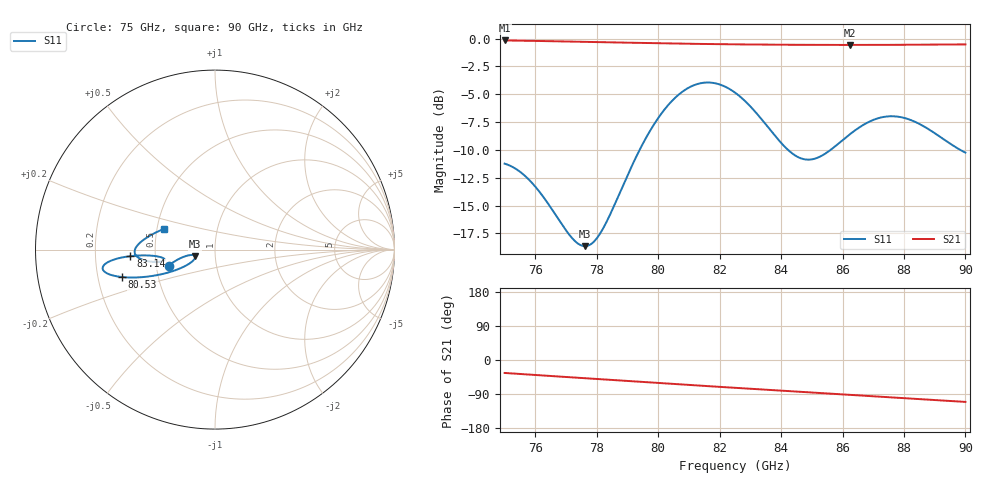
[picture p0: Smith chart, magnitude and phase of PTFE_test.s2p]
!SWISSto12 MCK measurement data
!name=PTFE_test
!thickness[mm]=3.160
# GHz S RI R 50.0
!freq ReS11 ImS11 ReS21 ImS21 ReS12 ImS12 ReS22 ImS22
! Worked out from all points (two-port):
!   961 points, 75 GHz to 90 GHz, reference 50 ohm
!   highest |S21| = -0.17 dB at 75 GHz (marker M1); lowest = -0.6 dB at 86.25 GHz (marker M2)
!   |S21| within 3 dB of the highest: start of sweep to end of sweep
!   lowest |S11| = -18.6 dB at 77.61 GHz (marker M3), VSWR 1.26, Z = 39.9 - j3.07 ohm
!   |S11| at or under -10 dB: start of sweep to 79.39 GHz; 84.23 GHz to 85.61 GHz (1.382 GHz wide, 1.63 % of centre); 89.83542 GHz to end of sweep
!   S12 and S22 are empty: the file has one direction only
!   S11 on the Smith chart (normalised r, x): 75 GHz: 0.58, -0.12; 80.53 GHz: 0.31, -0.13; 83.14 GHz: 0.36, -0.03; 90 GHz: 0.54, +0.14
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75  -0.2586 -0.0917  0.8114 -0.5508  0 0  0 0
75.84375  -0.22 -0.0624  0.762 -0.6112  0 0  0 0
77.10938  -0.128 -0.03  0.6806 -0.6907  0 0  0 0
77.5  -0.1125 -0.035  0.6535 -0.7131  0 0  0 0
77.60938  -0.1106 -0.038  0.6458 -0.7192  0 0  0 0
78.0625  -0.1174 -0.0566  0.6132 -0.7438  0 0  0 0
78.6875  -0.17 -0.0934  0.5667 -0.7752  0 0  0 0
79.40625  -0.2885 -0.1349  0.5117 -0.8077  0 0  0 0
80  -0.412 -0.1539  0.4656 -0.8313  0 0  0 0
80.53125  -0.5167 -0.153  0.4241 -0.8501  0 0  0 0
81.04688  -0.5917 -0.1367  0.3837 -0.8664  0 0  0 0
81.51562  -0.6241 -0.1126  0.3469 -0.8796  0 0  0 0
81.98438  -0.6174 -0.0851  0.31 -0.8913  0 0  0 0
82.5  -0.5692 -0.0578  0.2692 -0.9027  0 0  0 0
83.14062  -0.4709 -0.0364  0.2182 -0.9145  0 0  0 0
84.29688  -0.3075 -0.0407  0.1254 -0.9294  0 0  0 0
85  -0.281 -0.0574  0.0684 -0.9345  0 0  0 0
86.25  -0.3668 -0.0659  -0.0339 -0.9357  0 0  0 0
86.90625  -0.423 -0.0477  -0.0876 -0.9324  0 0  0 0
87.5  -0.4472 -0.0185  -0.1357 -0.9272  0 0  0 0
88.39062  -0.4194 0.037  -0.2064 -0.9155  0 0  0 0
90  -0.2851 0.1152  -0.3311 -0.8815  0 0  0 0
